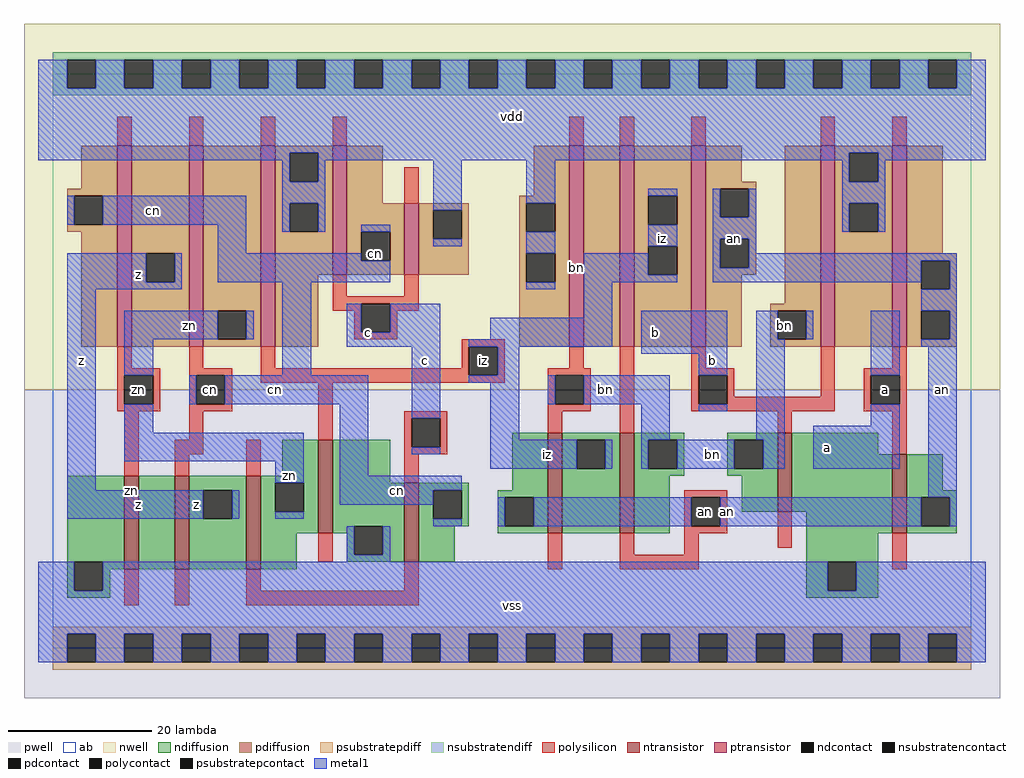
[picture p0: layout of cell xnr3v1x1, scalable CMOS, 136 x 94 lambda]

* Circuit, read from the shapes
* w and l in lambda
.subckt xnr3v1x1 a an b bn c cn iz vdd vss z zn
M1 n1 zn vss vss nfet w=13 l=2
M2 z cn n1 vss nfet w=13 l=2
M3 zn c z vss nfet w=13 l=2
M4 vss iz zn vss nfet w=13 l=2
M5 cn c vss vss nfet w=11 l=2
M6 iz bn an vss nfet w=14 l=2
M7 bn an iz vss nfet w=14 l=2
M8 vss b bn vss nfet w=11 l=2
M9 an a vss vss nfet w=11 l=2
M10 z zn cn vdd pfet w=28 l=2
M11 zn cn z vdd pfet w=28 l=2
M12 vdd iz zn vdd pfet w=28 l=2
M13 cn c vdd vdd pfet w=18 l=2
M14 vdd c cn vdd pfet w=10 l=2
M15 n2 bn vdd vdd pfet w=28 l=2
M16 iz an n2 vdd pfet w=28 l=2
M17 an b iz vdd pfet w=28 l=2
M18 vdd b bn vdd pfet w=28 l=2
M19 an a vdd vdd pfet w=28 l=2
.ends

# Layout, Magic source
magic
tech scmos
<< ab >>
rect 0 0 128 80
<< pwell >>
rect -4 -7 132 36
<< nwell >>
rect -4 36 132 87
<< polysilicon >>
rect 9 70 11 74
rect 19 70 21 74
rect 29 70 31 74
rect 39 70 41 74
rect 72 70 74 74
rect 79 70 81 74
rect 89 70 91 74
rect 107 70 109 74
rect 117 70 119 74
rect 49 62 51 67
rect 39 49 41 52
rect 49 49 51 52
rect 39 48 51 49
rect 39 47 43 48
rect 42 44 43 47
rect 47 47 51 48
rect 47 44 48 47
rect 42 43 48 44
rect 57 42 63 43
rect 9 39 11 42
rect 19 39 21 42
rect 29 39 31 42
rect 57 39 58 42
rect 9 38 15 39
rect 9 34 10 38
rect 14 34 15 38
rect 9 33 15 34
rect 19 38 25 39
rect 19 34 20 38
rect 24 34 25 38
rect 29 38 58 39
rect 62 38 63 42
rect 72 39 74 42
rect 29 37 63 38
rect 69 38 75 39
rect 19 33 25 34
rect 10 24 12 33
rect 19 29 21 33
rect 37 29 39 37
rect 69 34 70 38
rect 74 34 75 38
rect 69 33 75 34
rect 49 32 55 33
rect 17 27 21 29
rect 17 24 19 27
rect 27 24 29 29
rect 49 28 50 32
rect 54 28 55 32
rect 69 30 71 33
rect 79 30 81 42
rect 89 39 91 42
rect 89 38 95 39
rect 89 34 90 38
rect 94 35 95 38
rect 107 35 109 42
rect 117 39 119 42
rect 94 34 109 35
rect 89 33 109 34
rect 113 38 119 39
rect 113 34 114 38
rect 118 34 119 38
rect 113 33 119 34
rect 101 30 103 33
rect 49 27 55 28
rect 49 23 51 27
rect 37 12 39 16
rect 88 21 94 22
rect 88 17 89 21
rect 93 17 94 21
rect 117 27 119 33
rect 88 16 94 17
rect 10 6 12 11
rect 17 6 19 11
rect 27 8 29 11
rect 49 8 51 12
rect 69 11 71 16
rect 79 13 81 16
rect 88 13 90 16
rect 101 14 103 19
rect 79 11 90 13
rect 27 6 51 8
rect 117 11 119 16
<< ndiffusion >>
rect 32 24 37 29
rect 2 12 10 24
rect 2 8 3 12
rect 7 11 10 12
rect 12 11 17 24
rect 19 22 27 24
rect 19 18 21 22
rect 25 18 27 22
rect 19 11 27 18
rect 29 23 37 24
rect 29 19 31 23
rect 35 19 37 23
rect 29 16 37 19
rect 39 23 47 29
rect 39 17 49 23
rect 39 16 42 17
rect 29 11 34 16
rect 41 13 42 16
rect 46 13 49 17
rect 41 12 49 13
rect 51 22 58 23
rect 64 22 69 30
rect 51 18 53 22
rect 57 18 58 22
rect 51 17 58 18
rect 62 21 69 22
rect 62 17 63 21
rect 67 17 69 21
rect 51 12 56 17
rect 62 16 69 17
rect 71 29 79 30
rect 71 25 73 29
rect 77 25 79 29
rect 71 16 79 25
rect 81 29 88 30
rect 81 25 83 29
rect 87 25 88 29
rect 81 24 88 25
rect 94 29 101 30
rect 94 25 95 29
rect 99 25 101 29
rect 94 24 101 25
rect 81 16 86 24
rect 96 19 101 24
rect 103 27 115 30
rect 103 19 117 27
rect 7 8 8 11
rect 2 7 8 8
rect 105 16 117 19
rect 119 22 124 27
rect 119 21 126 22
rect 119 17 121 21
rect 125 17 126 21
rect 119 16 126 17
rect 105 12 115 16
rect 105 8 108 12
rect 112 8 115 12
rect 105 7 115 8
<< pdiffusion >>
rect 4 64 9 70
rect 2 63 9 64
rect 2 59 3 63
rect 7 59 9 63
rect 2 58 9 59
rect 4 42 9 58
rect 11 55 19 70
rect 11 51 13 55
rect 17 51 19 55
rect 11 42 19 51
rect 21 47 29 70
rect 21 43 23 47
rect 27 43 29 47
rect 21 42 29 43
rect 31 69 39 70
rect 31 65 33 69
rect 37 65 39 69
rect 31 62 39 65
rect 31 58 33 62
rect 37 58 39 62
rect 31 52 39 58
rect 41 62 46 70
rect 67 63 72 70
rect 65 62 72 63
rect 41 58 49 62
rect 41 54 43 58
rect 47 54 49 58
rect 41 52 49 54
rect 51 61 58 62
rect 51 57 53 61
rect 57 57 58 61
rect 51 52 58 57
rect 65 58 66 62
rect 70 58 72 62
rect 65 55 72 58
rect 31 42 37 52
rect 65 51 66 55
rect 70 51 72 55
rect 65 42 72 51
rect 74 42 79 70
rect 81 63 89 70
rect 81 59 83 63
rect 87 59 89 63
rect 81 56 89 59
rect 81 52 83 56
rect 87 52 89 56
rect 81 42 89 52
rect 91 65 96 70
rect 91 64 98 65
rect 91 60 93 64
rect 97 60 98 64
rect 91 57 98 60
rect 91 53 93 57
rect 97 53 98 57
rect 91 52 98 53
rect 91 42 96 52
rect 102 48 107 70
rect 100 47 107 48
rect 100 43 101 47
rect 105 43 107 47
rect 100 42 107 43
rect 109 69 117 70
rect 109 65 111 69
rect 115 65 117 69
rect 109 62 117 65
rect 109 58 111 62
rect 115 58 117 62
rect 109 42 117 58
rect 119 55 124 70
rect 119 54 126 55
rect 119 50 121 54
rect 125 50 126 54
rect 119 47 126 50
rect 119 43 121 47
rect 125 43 126 47
rect 119 42 126 43
<< metal1 >>
rect -2 78 2 82
rect 6 78 10 82
rect 14 78 18 82
rect 22 78 26 82
rect 30 78 34 82
rect 38 78 42 82
rect 46 78 50 82
rect 54 78 58 82
rect 62 78 66 82
rect 70 78 74 82
rect 78 78 82 82
rect 86 78 90 82
rect 94 78 98 82
rect 102 78 106 82
rect 110 78 114 82
rect 118 78 122 82
rect 126 78 130 82
rect -2 69 130 78
rect -2 68 33 69
rect 32 65 33 68
rect 37 68 111 69
rect 37 65 38 68
rect 2 59 3 63
rect 7 59 27 63
rect 23 55 27 59
rect 32 62 38 65
rect 32 58 33 62
rect 37 58 38 62
rect 53 61 57 68
rect 43 58 47 59
rect 2 51 13 55
rect 17 51 18 55
rect 23 54 43 55
rect 53 56 57 57
rect 66 62 70 68
rect 110 65 111 68
rect 115 68 130 69
rect 115 65 116 68
rect 23 51 47 54
rect 66 55 70 58
rect 83 63 87 64
rect 83 56 87 59
rect 2 50 18 51
rect 2 22 6 50
rect 10 43 23 47
rect 27 43 28 47
rect 10 38 14 43
rect 32 38 36 51
rect 66 50 70 51
rect 74 52 83 55
rect 74 51 87 52
rect 92 60 93 64
rect 97 60 98 64
rect 92 57 98 60
rect 110 62 116 65
rect 110 58 111 62
rect 115 58 116 62
rect 92 53 93 57
rect 97 55 98 57
rect 97 54 126 55
rect 97 53 121 54
rect 92 51 121 53
rect 41 44 43 48
rect 47 44 54 48
rect 74 46 78 51
rect 125 50 126 54
rect 121 47 126 50
rect 41 42 54 44
rect 61 43 78 46
rect 19 34 20 38
rect 24 34 44 38
rect 10 30 14 34
rect 10 26 35 30
rect 31 23 35 26
rect 2 18 21 22
rect 25 18 26 22
rect 40 24 44 34
rect 50 32 54 42
rect 58 42 78 43
rect 62 38 65 42
rect 82 41 94 47
rect 90 38 94 41
rect 58 37 65 38
rect 50 27 54 28
rect 61 29 65 37
rect 69 34 70 38
rect 74 34 86 38
rect 82 29 86 34
rect 90 33 94 34
rect 98 43 101 47
rect 105 43 106 47
rect 98 29 102 43
rect 114 38 118 47
rect 125 43 126 47
rect 121 42 126 43
rect 114 31 118 34
rect 61 25 73 29
rect 77 25 78 29
rect 82 25 83 29
rect 87 25 95 29
rect 99 25 102 29
rect 106 25 118 31
rect 40 22 57 24
rect 40 20 53 22
rect 31 18 35 19
rect 122 21 126 42
rect 53 17 57 18
rect 62 17 63 21
rect 67 17 89 21
rect 93 17 121 21
rect 125 17 126 21
rect 41 13 42 17
rect 46 13 47 17
rect 41 12 47 13
rect -2 8 3 12
rect 7 8 108 12
rect 112 8 130 12
rect -2 2 130 8
rect -2 -2 2 2
rect 6 -2 10 2
rect 14 -2 18 2
rect 22 -2 26 2
rect 30 -2 34 2
rect 38 -2 42 2
rect 46 -2 50 2
rect 54 -2 58 2
rect 62 -2 66 2
rect 70 -2 74 2
rect 78 -2 82 2
rect 86 -2 90 2
rect 94 -2 98 2
rect 102 -2 106 2
rect 110 -2 114 2
rect 118 -2 122 2
rect 126 -2 130 2
<< ntransistor >>
rect 10 11 12 24
rect 17 11 19 24
rect 27 11 29 24
rect 37 16 39 29
rect 49 12 51 23
rect 69 16 71 30
rect 79 16 81 30
rect 101 19 103 30
rect 117 16 119 27
<< ptransistor >>
rect 9 42 11 70
rect 19 42 21 70
rect 29 42 31 70
rect 39 52 41 70
rect 49 52 51 62
rect 72 42 74 70
rect 79 42 81 70
rect 89 42 91 70
rect 107 42 109 70
rect 117 42 119 70
<< polycontact >>
rect 43 44 47 48
rect 10 34 14 38
rect 20 34 24 38
rect 58 38 62 42
rect 70 34 74 38
rect 50 28 54 32
rect 90 34 94 38
rect 114 34 118 38
rect 89 17 93 21
<< ndcontact >>
rect 3 8 7 12
rect 21 18 25 22
rect 31 19 35 23
rect 42 13 46 17
rect 53 18 57 22
rect 63 17 67 21
rect 73 25 77 29
rect 83 25 87 29
rect 95 25 99 29
rect 121 17 125 21
rect 108 8 112 12
<< pdcontact >>
rect 3 59 7 63
rect 13 51 17 55
rect 23 43 27 47
rect 33 65 37 69
rect 33 58 37 62
rect 43 54 47 58
rect 53 57 57 61
rect 66 58 70 62
rect 66 51 70 55
rect 83 59 87 63
rect 83 52 87 56
rect 93 60 97 64
rect 93 53 97 57
rect 101 43 105 47
rect 111 65 115 69
rect 111 58 115 62
rect 121 50 125 54
rect 121 43 125 47
<< psubstratepcontact >>
rect 2 -2 6 2
rect 10 -2 14 2
rect 18 -2 22 2
rect 26 -2 30 2
rect 34 -2 38 2
rect 42 -2 46 2
rect 50 -2 54 2
rect 58 -2 62 2
rect 66 -2 70 2
rect 74 -2 78 2
rect 82 -2 86 2
rect 90 -2 94 2
rect 98 -2 102 2
rect 106 -2 110 2
rect 114 -2 118 2
rect 122 -2 126 2
<< nsubstratencontact >>
rect 2 78 6 82
rect 10 78 14 82
rect 18 78 22 82
rect 26 78 30 82
rect 34 78 38 82
rect 42 78 46 82
rect 50 78 54 82
rect 58 78 62 82
rect 66 78 70 82
rect 74 78 78 82
rect 82 78 86 82
rect 90 78 94 82
rect 98 78 102 82
rect 106 78 110 82
rect 114 78 118 82
rect 122 78 126 82
<< psubstratepdiff >>
rect 0 2 128 3
rect 0 -2 2 2
rect 6 -2 10 2
rect 14 -2 18 2
rect 22 -2 26 2
rect 30 -2 34 2
rect 38 -2 42 2
rect 46 -2 50 2
rect 54 -2 58 2
rect 62 -2 66 2
rect 70 -2 74 2
rect 78 -2 82 2
rect 86 -2 90 2
rect 94 -2 98 2
rect 102 -2 106 2
rect 110 -2 114 2
rect 118 -2 122 2
rect 126 -2 128 2
rect 0 -3 128 -2
<< nsubstratendiff >>
rect 0 82 128 83
rect 0 78 2 82
rect 6 78 10 82
rect 14 78 18 82
rect 22 78 26 82
rect 30 78 34 82
rect 38 78 42 82
rect 46 78 50 82
rect 54 78 58 82
rect 62 78 66 82
rect 70 78 74 82
rect 78 78 82 82
rect 86 78 90 82
rect 94 78 98 82
rect 102 78 106 82
rect 110 78 114 82
rect 118 78 122 82
rect 126 78 128 82
rect 0 77 128 78
<< labels >>
rlabel ntransistor 11 22 11 22 6 zn
rlabel polycontact 22 36 22 36 6 cn
rlabel polycontact 60 40 60 40 6 iz
rlabel ptransistor 73 53 73 53 6 bn
rlabel polycontact 91 19 91 19 6 an
rlabel metal1 20 20 20 20 6 z
rlabel metal1 12 20 12 20 6 z
rlabel polycontact 12 36 12 36 6 zn
rlabel metal1 4 40 4 40 6 z
rlabel metal1 12 52 12 52 6 z
rlabel metal1 33 24 33 24 6 zn
rlabel metal1 19 45 19 45 6 zn
rlabel metal1 31 36 31 36 6 cn
rlabel metal1 44 44 44 44 6 c
rlabel metal1 14 61 14 61 6 cn
rlabel pdcontact 45 55 45 55 6 cn
rlabel metal1 64 6 64 6 6 vss
rlabel metal1 48 22 48 22 6 cn
rlabel metal1 52 40 52 40 6 c
rlabel polycontact 61 40 61 40 6 iz
rlabel metal1 64 74 64 74 6 vdd
rlabel metal1 69 27 69 27 6 iz
rlabel metal1 92 27 92 27 6 bn
rlabel metal1 77 36 77 36 6 bn
rlabel metal1 92 40 92 40 6 b
rlabel metal1 84 44 84 44 6 b
rlabel metal1 85 57 85 57 6 iz
rlabel metal1 95 57 95 57 6 an
rlabel metal1 94 19 94 19 6 an
rlabel metal1 108 28 108 28 6 a
rlabel pdcontact 102 45 102 45 6 bn
rlabel polycontact 116 36 116 36 6 a
rlabel metal1 124 36 124 36 6 an
<< end >>
